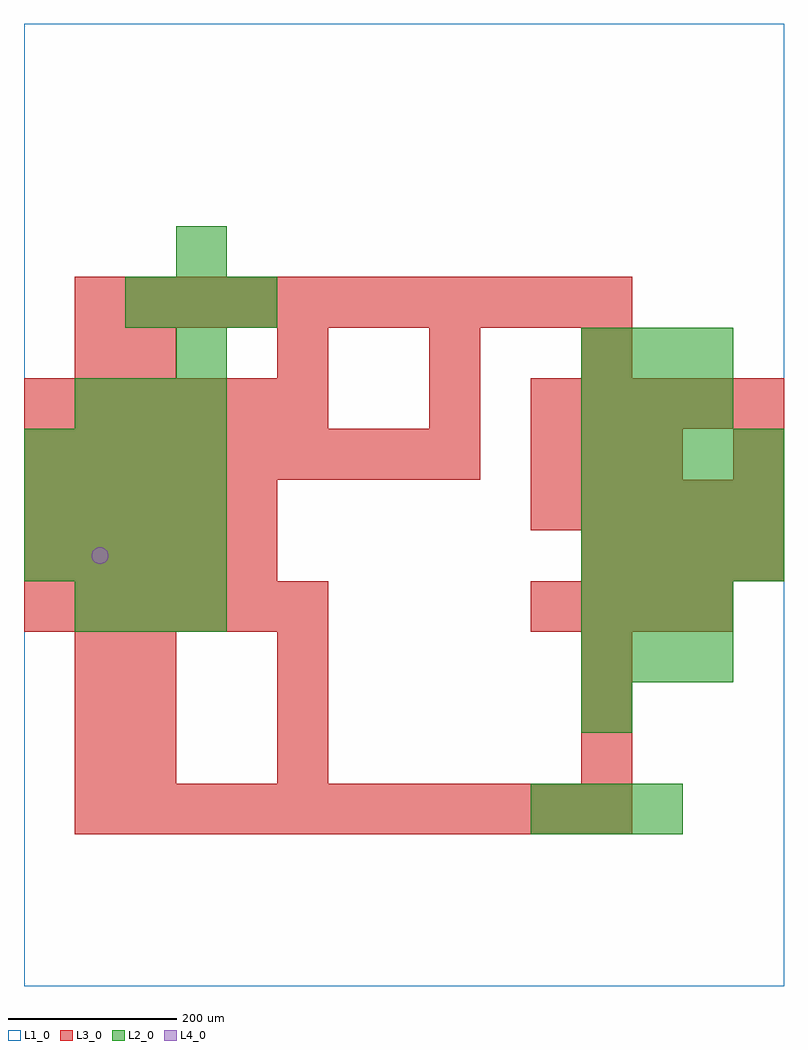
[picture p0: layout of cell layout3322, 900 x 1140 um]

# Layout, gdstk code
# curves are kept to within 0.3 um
import gdstk
lib = gdstk.Library(unit=1e-6, precision=1e-09)
def R(c, l, rs):  # rectangles x0, y0, x1, y1
    for r in rs: c.add(gdstk.rectangle(r[:2], r[2:], *l))
def A(c, l, x, y, w, h, nx, ny, dx, dy):  # array of equal rectangles
    R(c, l, [(x+i*dx, y+j*dy, x+i*dx+w, y+j*dy+h) for i in range(nx) for j in range(ny)])
def P(c, l, *ps):  # polygons
    for p in ps: c.add(gdstk.Polygon(p, *l))
L1_0 = (1, 0)
L2_0 = (2, 0)
L3_0 = (3, 0)
L4_0 = (4, 0)

layout3322 = lib.new_cell('layout3322')
R(layout3322, L1_0, [(0,0,900,1140)])
A(layout3322, L2_0, 600, 180, 60, 60, 3, 1, 60, 0)
A(layout3322, L2_0, 660, 360, 60, 60, 3, 2, 60, 60)
A(layout3322, L2_0, 60, 420, 60, 60, 3, 2, 60, 240)
A(layout3322, L2_0, 0, 480, 60, 60, 4, 3, 60, 60)
A(layout3322, L2_0, 660, 480, 60, 60, 4, 3, 60, 60)
A(layout3322, L2_0, 660, 660, 60, 60, 3, 2, 60, 60)
A(layout3322, L2_0, 120, 780, 60, 60, 3, 1, 60, 0)
R(layout3322, L2_0, [(660,300,720,360), (180,720,240,780), (180,840,240,900)])
A(layout3322, L3_0, 60, 180, 60, 60, 11, 2, 60, 600)
A(layout3322, L3_0, 60, 240, 60, 60, 1, 3, 0, 60)
A(layout3322, L3_0, 120, 240, 60, 60, 1, 3, 0, 60)
A(layout3322, L3_0, 300, 240, 60, 60, 1, 3, 0, 60)
A(layout3322, L3_0, 660, 240, 60, 60, 1, 3, 0, 60)
A(layout3322, L3_0, 0, 420, 60, 60, 6, 2, 60, 240)
A(layout3322, L3_0, 600, 420, 60, 60, 4, 1, 60, 0)
A(layout3322, L3_0, 0, 480, 60, 60, 5, 2, 60, 60)
A(layout3322, L3_0, 660, 480, 60, 60, 4, 1, 60, 0)
A(layout3322, L3_0, 600, 540, 60, 60, 5, 2, 60, 120)
A(layout3322, L3_0, 0, 600, 60, 60, 9, 1, 60, 0)
A(layout3322, L3_0, 600, 600, 60, 60, 3, 1, 60, 0)
A(layout3322, L3_0, 120, 720, 60, 60, 4, 1, 180, 0)
R(layout3322, L3_0, [(840,600,900,660), (480,660,540,720), (60,720,120,780)])
P(layout3322, L4_0, [(100,510),(99.239,513.827),(97.071,517.071),(93.827,519.239),(90,520),(86.173,519.239),(82.929,517.071),(80.761,513.827),(80,510),(80.761,506.173),(82.929,502.929),(86.173,500.761),(90,500),(93.827,500.761),(97.071,502.929),(99.239,506.173)])

lib.write_gds('layout3322.gds')
